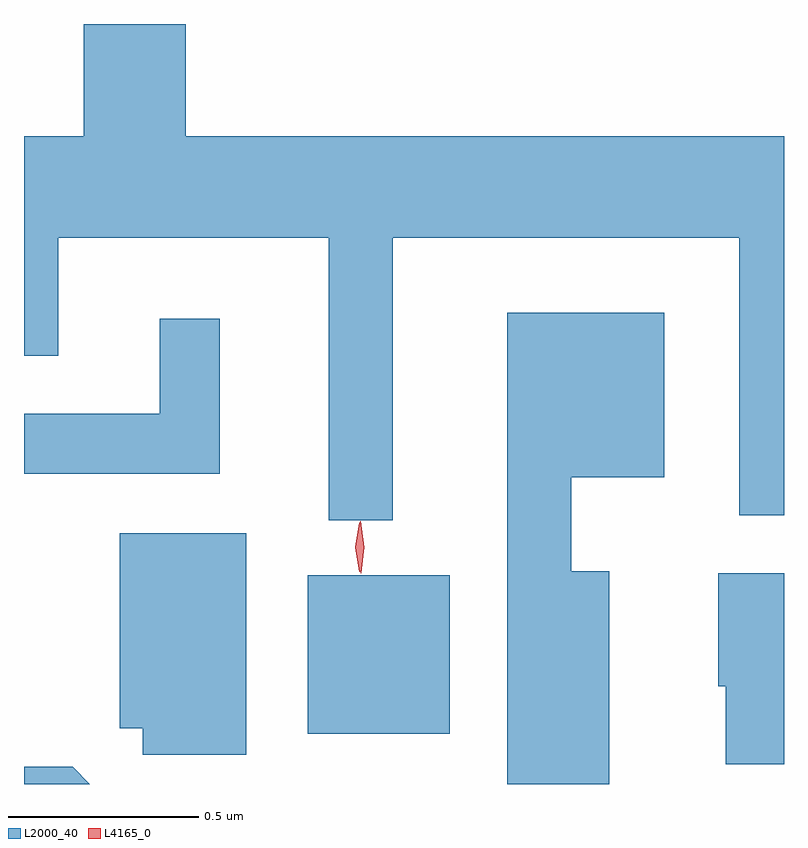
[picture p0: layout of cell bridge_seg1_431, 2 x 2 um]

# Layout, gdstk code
import gdstk
lib = gdstk.Library(unit=1e-6, precision=1e-09)
def R(c, l, rs):  # rectangles x0, y0, x1, y1
    for r in rs: c.add(gdstk.rectangle(r[:2], r[2:], *l))
def P(c, l, *ps):  # polygons
    for p in ps: c.add(gdstk.Polygon(p, *l))
L2000_40 = (2000, 40)
L4165_0 = (4165, 0)

bridge_seg1_431 = lib.new_cell('bridge_seg1_431')
R(bridge_seg1_431, L2000_40, [(195.686,918.251,196.059,918.669)])
P(bridge_seg1_431, L2000_40, [(195.909,919.556),(196.821,919.556),(196.821,918.826),(196.939,918.826),(196.939,919.824),(195.364,919.824),(195.364,920.119),(195.096,920.119),(195.096,919.824),(194.939,919.824),(194.939,919.246),(195.029,919.246),(195.029,919.556),(195.741,919.556),(195.741,918.813),(195.909,918.813)],
  [(196.479,918.679),(196.379,918.679),(196.379,918.926),(196.624,918.926),(196.624,919.359),(196.211,919.359),(196.211,918.119),(196.479,918.119)],
  [(195.454,919.343),(195.296,919.343),(195.296,919.094),(194.939,919.094),(194.939,918.936),(195.454,918.936)],
  [(195.524,918.779),(195.191,918.779),(195.191,918.266),(195.251,918.266),(195.251,918.196),(195.524,918.196)],
  [(196.939,918.674),(196.766,918.674),(196.766,918.376),(196.786,918.376),(196.786,918.171),(196.939,918.171)],
  [(195.067,918.164),(194.939,918.164),(194.939,918.119),(195.112,918.119)])
P(bridge_seg1_431, L4165_0, [(195.821,918.678),(195.821,918.678),(195.811,918.742),(195.821,918.807),(195.821,918.807),(195.822,918.807),(195.831,918.742),(195.822,918.678)],
  [(195.825,918.674),(195.825,918.674),(195.815,918.742),(195.824,918.81),(195.825,918.81),(195.825,918.81),(195.835,918.742),(195.826,918.674)])

lib.write_gds('bridge_seg1_431.gds')
